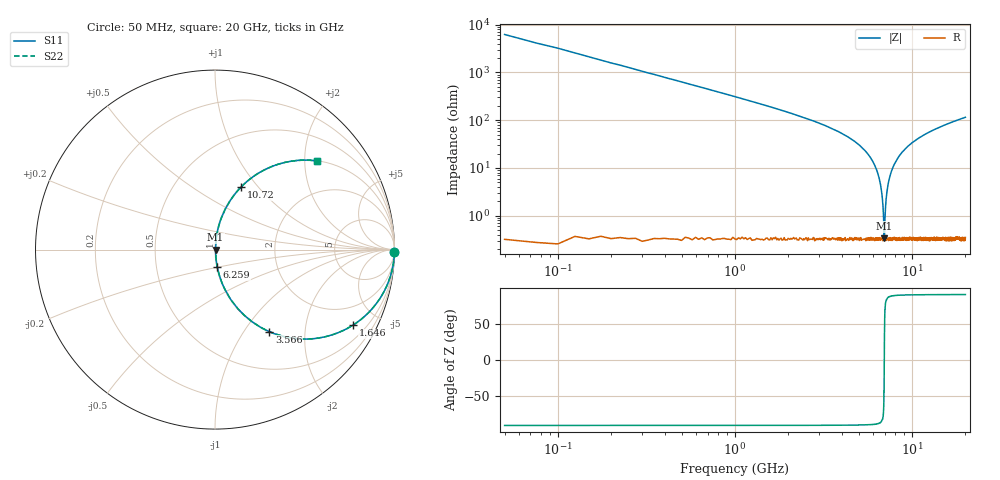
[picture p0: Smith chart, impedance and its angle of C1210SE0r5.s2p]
! AVX Thin Film Operation		Date: April 2012
! Description: Accu-P® Series, Thin Film, SMD, RF Capacitor
! Part Number: 12101J0R5PBTTR
!	100	MHz	-	20.05	GHz
!	Serial	Measurements
#	MHZ	S	MA	R	50
!	S11	S21	S12	S22
!	dB	Phase	dB	Phase	dB	Phase	dB	Phase
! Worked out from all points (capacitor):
!   801 points, 50 MHz to 20 GHz, reference 50 ohm
!   read as one part in series: C = 500 fF near 149.8 MHz
!   lowest |Z| = 334 mohm at 6.958 GHz (marker M1)
!   series resonance near 6.966 GHz, so ESL is about 1 nH
!   S11 on the Smith chart (normalised r, x): 50 MHz: open; 1.646 GHz: 1.01, -3.65; 3.566 GHz: 1.01, -1.32; 6.259 GHz: 1.01, -0.20; 10.72 GHz: 1.01, +0.81; 20 GHz: 1.01, +2.30
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50  1 -0.9  0.016 89.1  0.016 89.1  1 -0.9
249.5  0.997 -4.5  0.078 85.5  0.078 85.5  0.997 -4.5
523.813  0.986 -9.4  0.163 80.6  0.163 80.6  0.986 -9.4
997.625  0.952 -17.7  0.305 72.2  0.305 72.2  0.952 -17.7
1646  0.876 -28.7  0.48 61.2  0.48 61.2  0.876 -28.7
3391.625  0.581 -54.2  0.811 35.5  0.811 35.5  0.581 -54.2
3566.188  0.549 -56.4  0.833 33.3  0.833 33.3  0.549 -56.4
5261.938  0.251 -74.8  0.965 14.5  0.965 14.5  0.251 -74.8
6259.438  0.097 -82.5  0.992 5.6  0.992 5.6  0.097 -82.5
6708.313  0.035 -82.6  0.996 2.0  0.996 2.0  0.035 -82.6
6882.875  0.011 -72.8  0.997 0.6  0.997 0.6  0.011 -72.8
6957.688  0.003452 -19.1  0.997 0.1  0.997 0.1  0.003452 -19.1
7032.5  0.009205 68.8  0.997 -0.5  0.997 -0.5  0.009205 68.8
7157.188  0.025 81.0  0.996 -1.4  0.996 -1.4  0.025 81.0
7281.875  0.04 83.1  0.996 -2.3  0.996 -2.3  0.04 83.1
7730.75  0.095 82.6  0.992 -5.4  0.992 -5.4  0.095 82.6
8628.5  0.193 77.9  0.978 -11.1  0.978 -11.1  0.193 77.9
10025  0.321 70.7  0.944 -18.7  0.944 -18.7  0.321 70.7
10723.25  0.376 67.5  0.924 -22.1  0.924 -22.1  0.376 67.5
13366.62  0.537 57.2  0.841 -32.5  0.841 -32.5  0.537 57.2
16683.31  0.669 47.8  0.741 -42.0  0.741 -42.0  0.669 47.8
20000  0.754 40.9  0.654 -49.0  0.654 -49.0  0.754 40.9
